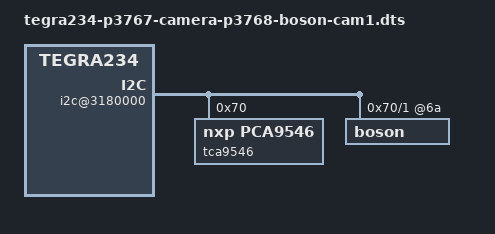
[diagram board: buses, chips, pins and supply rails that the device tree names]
// SPDX-License-Identifier: GPL-2.0-only
// SPDX-FileCopyrightText: Copyright (c) 2026, ARK Electronics.

/*
 * FLIR Boson+ through the ARK Boson Adapter on PAB CAM1 (J25), 2-lane:
 * CSI1_CLK with CSI1_D0/D1. PAB's camera connectors are 15-pin, so the
 * adapter needs a 22-to-15-pin FFC adapter.
 * TCA9546 channel 1, EXT_SYNC on CAM1_MCLK (PP.01).
 */

/dts-v1/;
/plugin/;

#define CAMERA_I2C_MUX_BUS(x)	(0x1E + x)

#define BOSON_PORT_INDEX	1
#define BOSON_SINTERFACE	"serial_b"
#define BOSON_LANE_POLARITY	"6"
#define BOSON_DISCONTINUOUS_CLK	"no"
/* NVCSI's own THS-settle is too short for the Boson on CSI1 (JAJ CAM0). */
#define BOSON_CIL_SETTLETIME	"150"
#define BOSON_SENSOR_SYSFS	"/sys/firmware/devicetree/base/bus@0/i2c@3180000/tca9546@70/i2c@1/boson@6a"
#define BOSON_SYNC_PAD		"extperiph2_clk_pp1"

#include <dt-bindings/tegra234-p3767-0000-common.h>
#include "tegra234-camera-boson.dtsi"

/ {
	overlay-name = "Camera FLIR Boson+ CAM1";
	jetson-header-name = "Jetson 22pin CSI Connector";
	compatible = JETSON_COMPATIBLE_P3768;

	fragment-boson-i2c@0 {
		target-path = "/";
		__overlay__ {
			bus@0 {
				i2c@3180000 {
					#address-cells = <1>;
					#size-cells = <0>;
					tca9546@70 {
						compatible = "nxp,pca9546";
						#address-cells = <1>;
						#size-cells = <0>;
						reg = <0x70>;
						i2c-parent = <&cam_i2c>;
						skip_mux_detect = "yes";
						status = "okay";
						force_bus_start = <CAMERA_I2C_MUX_BUS(0)>;
						i2c@0 {
							status = "okay";
							reg = <0>;
							i2c-mux,deselect-on-exit;
							#address-cells = <1>;
							#size-cells = <0>;
							/* the flash-time IMX219 default */
							ark_imx219_a@10 {
								status = "disabled";
							};
						};
						i2c@1 {
							status = "okay";
							reg = <1>;
							i2c-mux,deselect-on-exit;
							#address-cells = <1>;
							#size-cells = <0>;
							ark_imx219_b@10 {
								status = "disabled";
							};

							boson@6a {
								status = "okay";
#include "tegra234-camera-boson-sensor.dtsi"
							};
						};
						i2c@2 {
							status = "okay";
							reg = <2>;
							i2c-mux,deselect-on-exit;
							#address-cells = <1>;
							#size-cells = <0>;
							ark_imx219_c@10 {
								status = "disabled";
							};
						};
						i2c@3 {
							status = "okay";
							reg = <3>;
							i2c-mux,deselect-on-exit;
							#address-cells = <1>;
							#size-cells = <0>;
							ark_imx219_d@10 {
								status = "disabled";
							};
						};
					};
				};
			};
		};
	};
};
